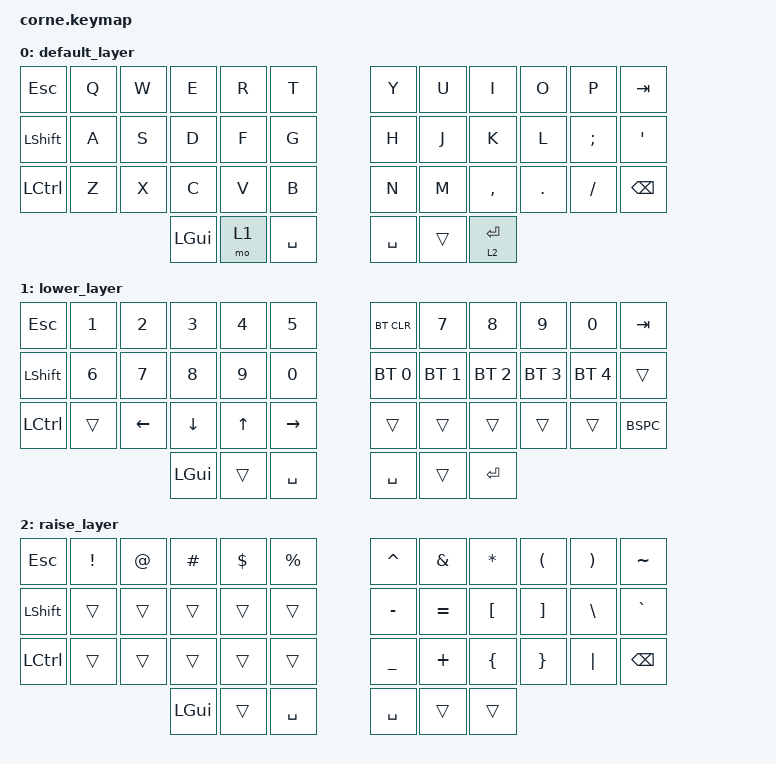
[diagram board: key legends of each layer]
/*
 * Copyright (c) 2020 The ZMK Contributors
 *
 * SPDX-License-Identifier: MIT
 */

#include <behaviors.dtsi>
#include <dt-bindings/zmk/keys.h>
#include <dt-bindings/zmk/bt.h>

/ {
        keymap {
                compatible = "zmk,keymap";

                default_layer {
                        bindings = <
   &kp ESC   &kp Q &kp W &kp E &kp R &kp T   &kp Y &kp U  &kp I     &kp O   &kp P    &kp TAB
   &kp LSHFT &kp A &kp S &kp D &kp F &kp G   &kp H &kp J  &kp K     &kp L   &kp SEMI &kp SQT
   &kp LCTRL &kp Z &kp X &kp C &kp V &kp B   &kp N &kp M  &kp COMMA &kp DOT &kp FSLH &kp BSPC
                  &kp LGUI &mo 1 &kp SPACE   &kp SPACE &trans &lt 2 RET
                        >;
                };
                lower_layer {
                        bindings = <
   &kp ESC    &kp N1       &kp N2       &kp N3       &kp N4       &kp N5         &bt BT_CLR   &kp N7   &kp N8 &kp N9    &kp N0 &kp TAB
   &kp LSHFT  &kp N6       &kp N7       &kp N8       &kp N9       &kp N0         &bt BT_SEL 0 &bt BT_SEL 1 &bt BT_SEL 2 &bt BT_SEL 3 &bt BT_SEL 4 &trans
   &kp LCTRL  &trans       &kp LEFT     &kp DOWN     &kp UP       &kp RIGHT      &trans   &trans   &trans &trans    &trans &BSPC
                                    &kp LGUI     &trans       &kp SPACE          &kp SPACE  &trans   &kp RET
                        >;
                };

                raise_layer {

                        bindings = <
   &kp  ESC  &kp EXCL &kp AT &kp HASH &kp DLLR &kp PRCNT   &kp CARET &kp AMPS  &kp ASTRK &kp LPAR &kp RPAR &kp TILDE
   &kp LSHFT &trans   &trans &trans   &trans   &trans      &kp MINUS &kp EQUAL &kp LBKT  &kp RBKT &kp BSLH &kp GRAVE
   &kp LCTRL &trans   &trans &trans   &trans   &trans      &kp UNDER &kp PLUS  &kp LBRC  &kp RBRC &kp PIPE &kp BSPC
                             &kp LGUI &trans   &kp SPACE   &kp SPACE   &trans    &trans
                        >;
                };
        };
};
